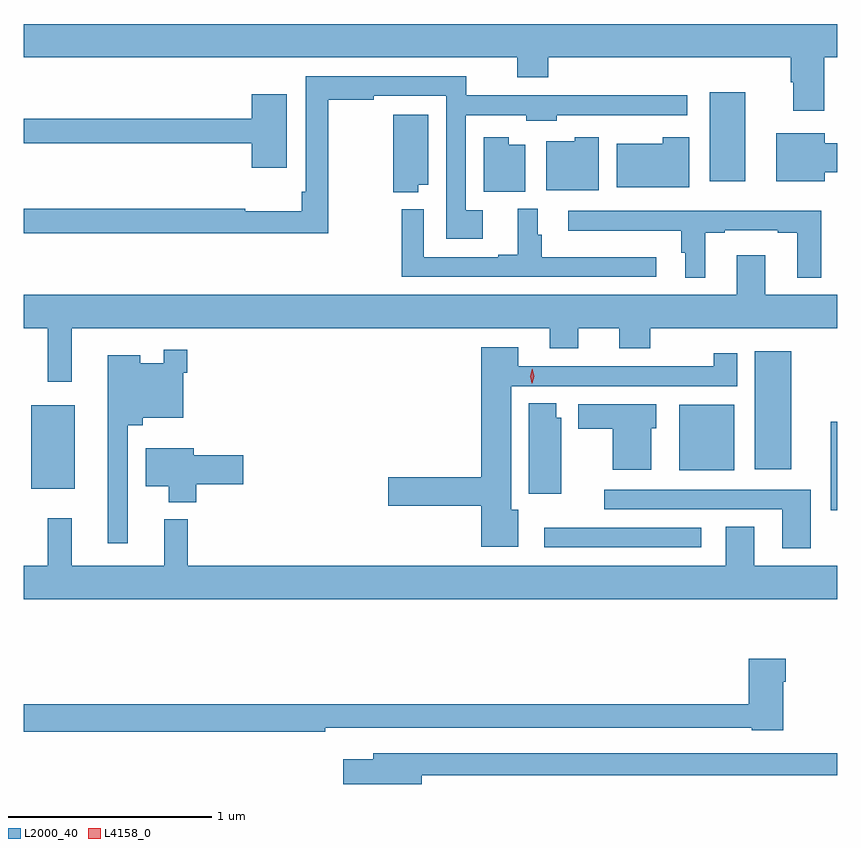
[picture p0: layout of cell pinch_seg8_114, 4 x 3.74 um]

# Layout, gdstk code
import gdstk
lib = gdstk.Library(unit=1e-6, precision=1e-09)
def R(c, l, rs):  # rectangles x0, y0, x1, y1
    for r in rs: c.add(gdstk.rectangle(r[:2], r[2:], *l))
def P(c, l, *ps):  # polygons
    for p in ps: c.add(gdstk.Polygon(p, *l))
L2000_40 = (2000, 40)
L4158_0 = (4158, 0)

pinch_seg8_114 = lib.new_cell('pinch_seg8_114')
R(pinch_seg8_114, L2000_40, [(1056.102,1096.776,1056.874,1096.872), (1057.511,1096.958,1057.542,1097.392), (1053.578,1097.063,1053.793,1097.473), (1056.764,1097.153,1057.036,1097.476), (1057.136,1097.159,1057.315,1097.74), (1056.914,1098.575,1057.09,1099.012)])
P(pinch_seg8_114, L2000_40, [(1057.478,1099.184),(1057.542,1099.184),(1057.542,1099.348),(1053.542,1099.348),(1053.542,1099.184),(1055.969,1099.184),(1055.969,1099.085),(1056.122,1099.085),(1056.122,1099.184),(1057.313,1099.184),(1057.313,1099.061),(1057.325,1099.061),(1057.325,1098.921),(1057.478,1098.921)],
  [(1055.8,1098.433),(1055.715,1098.433),(1055.715,1098.9),(1056.012,1098.9),(1056.012,1098.872),(1056.162,1098.872),(1056.162,1098.9),(1056.466,1098.9),(1056.466,1098.899),(1056.805,1098.899),(1056.805,1098.998),(1055.718,1098.998),(1055.718,1099.092),(1054.929,1099.092),(1054.929,1098.523),(1054.909,1098.523),(1054.909,1098.428),(1054.632,1098.428),(1054.632,1098.439),(1053.542,1098.439),(1053.542,1098.318),(1055.038,1098.318),(1055.038,1098.976),(1055.264,1098.976),(1055.264,1098.996),(1055.618,1098.996),(1055.618,1098.995),(1055.619,1098.995),(1055.619,1098.293),(1055.8,1098.293)],
  [(1054.834,1099.003),(1054.664,1099.003),(1054.664,1098.883),(1053.542,1098.883),(1053.542,1098.762),(1054.664,1098.762),(1054.664,1098.642),(1054.834,1098.642)],
  [(1055.482,1098.557),(1055.53,1098.557),(1055.53,1098.901),(1055.36,1098.901),(1055.36,1098.521),(1055.482,1098.521)],
  [(1057.48,1098.62),(1057.542,1098.62),(1057.542,1098.762),(1057.48,1098.762),(1057.48,1098.811),(1057.241,1098.811),(1057.241,1098.575),(1057.48,1098.575)],
  [(1056.37,1098.79),(1056.252,1098.79),(1056.252,1098.772),(1056.11,1098.772),(1056.11,1098.53),(1056.37,1098.53)],
  [(1056.814,1098.79),(1056.685,1098.79),(1056.685,1098.76),(1056.458,1098.76),(1056.458,1098.545),(1056.814,1098.545)],
  [(1056.007,1098.754),(1055.926,1098.754),(1055.926,1098.79),(1055.804,1098.79),(1055.804,1098.524),(1056.007,1098.524)],
  [(1056.652,1098.202),(1056.089,1098.202),(1056.089,1098.312),(1056.07,1098.312),(1056.07,1098.439),(1055.972,1098.439),(1055.972,1098.214),(1055.876,1098.214),(1055.876,1098.201),(1055.508,1098.201),(1055.508,1098.436),(1055.4,1098.436),(1055.4,1098.105),(1056.652,1098.105)],
  [(1056.892,1098.321),(1056.988,1098.321),(1056.988,1098.333),(1057.25,1098.333),(1057.25,1098.321),(1057.346,1098.321),(1057.346,1098.101),(1057.463,1098.101),(1057.463,1098.43),(1056.918,1098.43),(1056.918,1098.429),(1056.219,1098.429),(1056.219,1098.332),(1056.775,1098.332),(1056.775,1098.222),(1056.794,1098.222),(1056.794,1098.101),(1056.892,1098.101)],
  [(1053.542,1097.852),(1053.661,1097.852),(1053.661,1097.589),(1053.778,1097.589),(1053.778,1097.852),(1056.128,1097.852),(1056.128,1097.753),(1056.268,1097.753),(1056.268,1097.852),(1056.47,1097.852),(1056.47,1097.753),(1056.623,1097.753),(1056.623,1097.852),(1057.542,1097.852),(1057.542,1098.016),(1057.189,1098.016),(1057.189,1098.211),(1057.049,1098.211),(1057.049,1098.016),(1053.542,1098.016)],
  [(1055.974,1096.96),(1055.938,1096.96),(1055.938,1097.568),(1057.051,1097.568),(1057.051,1097.728),(1056.934,1097.728),(1056.934,1097.666),(1056.706,1097.666),(1056.706,1097.664),(1055.974,1097.664),(1055.974,1097.758),(1055.792,1097.758),(1055.792,1097.12),(1055.334,1097.12),(1055.334,1096.978),(1055.792,1096.978),(1055.792,1096.778),(1055.974,1096.778)],
  [(1054.053,1097.375),(1054.127,1097.375),(1054.127,1097.411),(1054.326,1097.411),(1054.326,1097.633),(1054.346,1097.633),(1054.346,1097.746),(1054.23,1097.746),(1054.23,1097.68),(1054.114,1097.68),(1054.114,1097.719),(1053.956,1097.719),(1053.956,1096.794),(1054.053,1096.794)],
  [(1056.184,1097.412),(1056.16,1097.412),(1056.16,1097.483),(1056.026,1097.483),(1056.026,1097.039),(1056.184,1097.039)],
  [(1056.628,1097.361),(1056.652,1097.361),(1056.652,1097.479),(1056.269,1097.479),(1056.269,1097.357),(1056.437,1097.357),(1056.437,1097.156),(1056.628,1097.156)],
  [(1054.391,1097.086),(1054.621,1097.086),(1054.621,1097.228),(1054.378,1097.228),(1054.378,1097.263),(1054.142,1097.263),(1054.142,1097.075),(1054.256,1097.075),(1054.256,1096.997),(1054.391,1096.997)],
  [(1057.411,1097.058),(1056.396,1097.058),(1056.396,1096.962),(1057.271,1096.962),(1057.271,1096.77),(1057.411,1096.77)],
  [(1057.542,1096.684),(1057.135,1096.684),(1057.135,1096.877),(1056.995,1096.877),(1056.995,1096.684),(1054.349,1096.684),(1054.349,1096.912),(1054.232,1096.912),(1054.232,1096.684),(1053.779,1096.684),(1053.779,1096.918),(1053.661,1096.918),(1053.661,1096.684),(1053.542,1096.684),(1053.542,1096.52),(1057.542,1096.52)],
  [(1055.024,1095.888),(1057.122,1095.888),(1057.122,1095.875),(1057.276,1095.875),(1057.276,1096.115),(1057.289,1096.115),(1057.289,1096.228),(1057.106,1096.228),(1057.106,1096.004),(1053.542,1096.004),(1053.542,1095.868),(1055.024,1095.868)],
  [(1055.5,1095.654),(1057.542,1095.654),(1057.542,1095.762),(1055.261,1095.762),(1055.261,1095.733),(1055.112,1095.733),(1055.112,1095.611),(1055.5,1095.611)])
P(pinch_seg8_114, L4158_0, [(1056.041,1097.581),(1056.041,1097.581),(1056.032,1097.617),(1056.042,1097.653),(1056.042,1097.653),(1056.042,1097.653),(1056.052,1097.617),(1056.042,1097.581)])

lib.write_gds('pinch_seg8_114.gds')
